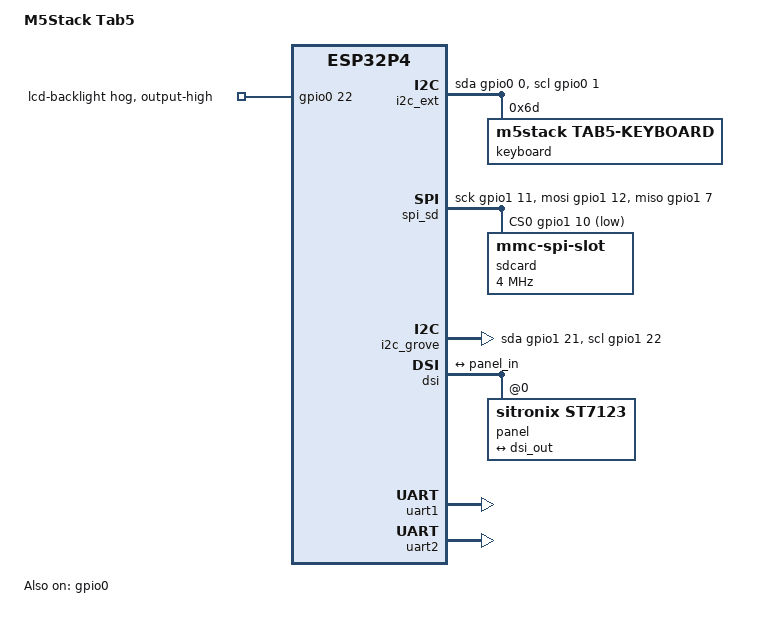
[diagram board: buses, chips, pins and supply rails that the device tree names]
// SPDX-License-Identifier: GPL-2.0-only
/*
 * M5Stack Tab5 overrides, appended to easystick-stamp-p4.dts by build-m1.sh
 * when EASYSTICK_BOARD=tab5.  The SoC side (P4 NRW32, 32 MiB PSRAM, 16 MiB
 * flash, USB-Serial/JTAG console on GPIO24/25) is the same as the Stamp-P4;
 * the boot shim powers the C6 and routes Slot 1 to the Tab5's SDIO pins
 * (CLK 12, CMD 13, DAT0..3 11/10/9/8), so the sdmmc1 node stays as is.
 */

/ {
	model = "M5Stack Tab5";
	compatible = "m5stack,tab5", "espressif,esp32p4";
};

/*
 * GPIO26/27 carry I2S to the audio codec on the Tab5, not a USB connector,
 * and the boot shim leaves the FS OTG PHY off.  Without a UDC the userland
 * skips the USB mass-storage drive.
 */
&usb_otg11 {
	status = "disabled";
};

/*
 * ST7123 720x1280 panel on the P4 MIPI-DSI host, two lanes (WHY2025's DSI
 * glue, kernel patches 0003/0073/0074; panel driver 0075).  The glue enables
 * the DSI clocks and LDO3 (VDD_MIPI_DPHY 2.5 V) itself.  The boot shim
 * releases LCD_RST (P4 of the 0x43 expander) and turns the backlight
 * (GPIO22) on, since Linux has no driver for either.
 */
/ {
	/* The DW-MIPI-DSI core needs a "pclk"; the APB clock is already on. */
	dsi_pclk: dsi-pclk {
		compatible = "fixed-clock";
		#clock-cells = <0>;
		clock-frequency = <100000000>;
		clock-output-names = "dsi-pclk";
	};

	reserved-memory {
		/*
		 * Scan-out buffer (720x1280 RGB565, 1.8 MB, an order-9
		 * allocation) and the GDMA descriptor page, kept out of the
		 * buddy allocator, which rarely has 2 MB free in one piece
		 * next to the NOMMU user pools.  Ends where the low user pool
		 * (0x495af000) starts.
		 */
		display_pool: display-pool@4939f000 {
			compatible = "shared-dma-pool";
			reg = <0x4939f000 0x00210000>;
			no-map;
		};
	};

	chosen {
		/*
		 * Landscape console with the keyboard below the screen: fbcon
		 * rotates the 720x1280 panel, Terminus 16x32 gives 80x22.
		 * console=ttyGS1 stays last, so /dev/console is still USB-C.
		 */
		bootargs = "earlycon=esp32p4usbjtag,mmio32,0x500d2000 console=tty0 console=ttyGS1,115200n8 loglevel=4 root=/dev/mtdblock0 rootfstype=squashfs ro init=/sbin/init maxcpus=1 fbcon=rotate:1 fbcon=font:TER16x32";
	};
};

&soc {
	dsi: dsi@500a0000 {
		compatible = "espressif,esp32p4-mipi-dsi";
		reg = <0x500a0000 0x0800>,	/* DW-MIPI-DSI host */
		      <0x500a0800 0x0100>;	/* Espressif bridge */
		reg-names = "host", "bridge";
		clocks = <&dsi_pclk>;
		clock-names = "pclk";
		/* The Tab5 panel is scanned in its native orientation. */
		espressif,blit-direct;
		/*
		 * The ROM cache ops make devices non-coherent by default, and
		 * NOMMU has no uncached remap, so dma_alloc_coherent() fails
		 * ("coherent DMA allocations not supported").  The glue
		 * flushes its scan-out buffer and GDMA descriptor itself.
		 */
		dma-coherent;
		memory-region = <&display_pool>;
		#address-cells = <1>;
		#size-cells = <0>;
		status = "okay";

		ports {
			#address-cells = <1>;
			#size-cells = <0>;

			port@0 {
				reg = <0>;
			};

			port@1 {
				reg = <1>;
				dsi_out: endpoint {
					remote-endpoint = <&panel_in>;
				};
			};
		};

		panel@0 {
			compatible = "sitronix,st7123";
			reg = <0>;

			port {
				panel_in: endpoint {
					remote-endpoint = <&dsi_out>;
				};
			};
		};
	};
};

#include <dt-bindings/gpio/gpio.h>

/*
 * Tab5 Keyboard (A164) on Ext.Port1: SDA GPIO0, SCL GPIO1, I2C 0x6d
 * (kernel patch 0076).  Bank 0 of the P4 GPIO controller (WHY2025's 0002
 * driver; it shares the MMIO page with gpio1) carries both lines; the bus is
 * bit-banged like WHY2025's keypad bus.  The keyboard's INT (GPIO50) is not
 * used: the driver polls.
 */
&soc {
	gpio0: gpio@500e0000 {
		compatible = "espressif,esp32p4-gpio";
		reg = <0x500e0000 0x1000>;
		espressif,bank-id = <0>;
		gpio-controller;
		#gpio-cells = <2>;
		status = "okay";

		/*
		 * The backlight enable (GPIO22) must be a line this driver owns:
		 * on every direction change (the bit-banged I2C toggles SDA each
		 * poll) it writes ENABLE_W1TC with every line it does not drive
		 * as an output, which turned off the output the boot shim set.
		 */
		lcd-backlight-hog {
			gpio-hog;
			gpios = <22 GPIO_ACTIVE_HIGH>;
			output-high;
			line-name = "lcd-backlight";
		};
	};
};

/ {
	i2c_ext: i2c-ext {
		compatible = "i2c-gpio";
		sda-gpios = <&gpio0 0 (GPIO_ACTIVE_HIGH | GPIO_OPEN_DRAIN | GPIO_PULL_UP)>;
		scl-gpios = <&gpio0 1 (GPIO_ACTIVE_HIGH | GPIO_OPEN_DRAIN | GPIO_PULL_UP)>;
		i2c-gpio,delay-us = <5>;	/* about 100 kHz */
		#address-cells = <1>;
		#size-cells = <0>;

		keyboard@6d {
			compatible = "m5stack,tab5-keyboard";
			reg = <0x6d>;
		};
	};
};

/*
 * Tab5 microSD slot, driven in SPI mode.  The slot is SDMMC Slot 0 on the
 * dedicated pads GPIO39..44, but the P4 has one SDMMC controller whose
 * Slot 1 is taken by the C6 and the local dw_mmc driver is single-slot, so
 * the card is bit-banged instead (M5's documented SPI-mode mapping):
 *
 *   GPIO43 CLK -> SCK    GPIO44 CMD -> MOSI    GPIO39 DAT0 -> MISO
 *   GPIO42 DAT3 -> CS    (GPIO40/41, DAT1/DAT2, stay idle)
 *
 * GPIO32.. live in bank 1, whose line numbers start at 0: line = GPIO - 32.
 * The boot shim switches the slot's I/O rail (LDO4, 3.3 V) on; the GPIO
 * driver moves the pads to the GPIO function when a line is requested.
 * No card-detect line is wired, so mmc_spi polls.
 */
/ {
	spi_sd: spi-sd {
		compatible = "spi-gpio";
		sck-gpios = <&gpio1 11 GPIO_ACTIVE_HIGH>;
		mosi-gpios = <&gpio1 12 (GPIO_ACTIVE_HIGH | GPIO_PULL_UP)>;
		miso-gpios = <&gpio1 7 (GPIO_ACTIVE_HIGH | GPIO_PULL_UP)>;
		cs-gpios = <&gpio1 10 GPIO_ACTIVE_LOW>;
		num-chipselects = <1>;
		#address-cells = <1>;
		#size-cells = <0>;

		sdcard@0 {
			compatible = "mmc-spi-slot";
			reg = <0>;
			spi-max-frequency = <4000000>;
			voltage-ranges = <3200 3400>;
		};
	};
};

/*
 * Tab5 RS485 (SIT3088) on UART1: TX GPIO20, RX GPIO21, DIR GPIO34 (M5Stack
 * pin table).  The boot shim clocks UART1 from XTAL / 4 (10 MHz, so 9600
 * baud fits the 12-bit divider), routes the three pads through the GPIO
 * matrix and leaves the UART core to Linux (patch 0079).  DIR is the UART's
 * RTS output; "linux,rs485-enabled-at-boot-time" puts the port in hardware
 * half-duplex mode, where RTS rises only while a character is being sent.
 * It appears as /dev/ttyS2 (serial0 is UART0, serial1 the USB serial/JTAG).
 * CLIC slot 25 / INTMTX source 32 (ETS_UART1_INTR_SOURCE).
 */
/ {
	aliases {
		serial2 = &uart1;
		serial3 = &uart2;
	};

	uart1_sclk: uart1-sclk {
		compatible = "fixed-clock";
		#clock-cells = <0>;
		clock-frequency = <10000000>;
		clock-output-names = "uart1-sclk";
	};

	uart2_sclk: uart2-sclk {
		compatible = "fixed-clock";
		#clock-cells = <0>;
		clock-frequency = <10000000>;
		clock-output-names = "uart2-sclk";
	};
};

&soc {
	uart1: serial@500cb000 {
		compatible = "esp,esp32p4-uart";
		reg = <0x500cb000 0x1000>;
		interrupts-extended = <&clic0 25 32 IRQ_TYPE_LEVEL_HIGH>;
		clocks = <&uart1_sclk>;
		linux,rs485-enabled-at-boot-time;
		status = "okay";
	};

	/* Grove UART, see the Grove comment below.  CLIC slot 26 / source 33. */
	uart2: serial@500cc000 {
		compatible = "esp,esp32p4-uart";
		reg = <0x500cc000 0x1000>;
		interrupts-extended = <&clic0 26 33 IRQ_TYPE_LEVEL_HIGH>;
		clocks = <&uart2_sclk>;
		status = "okay";
	};
};

/*
 * Tab5 Grove port (HY2.0-4P, PORT.A): yellow G53, white G54 (case label).
 * The pads carry either UART2 (/dev/ttyS3) or this bit-banged I2C bus, never
 * both.  The M5Stack PORT.A colour convention gives yellow = SDA, white =
 * SCL for I2C and yellow = host TX, white = host RX for UART; the case only
 * labels the GPIO numbers, so both assignments are still to be confirmed
 * with a real Unit.  The boot shim only clocks UART2.  grove-mode (run by
 * S42grove, setting kept in /boot/grove.txt) writes the GPIO matrix and
 * binds or unbinds this i2c-gpio device, so switching needs no rebuild.
 * Default is UART (Unit DMX).  G53/G54 are GPIO53/54, i.e. bank 1 lines
 * 21 and 22.
 */
/ {
	i2c_grove: i2c-grove {
		compatible = "i2c-gpio";
		sda-gpios = <&gpio1 21 (GPIO_ACTIVE_HIGH | GPIO_OPEN_DRAIN | GPIO_PULL_UP)>;
		scl-gpios = <&gpio1 22 (GPIO_ACTIVE_HIGH | GPIO_OPEN_DRAIN | GPIO_PULL_UP)>;
		i2c-gpio,delay-us = <5>;	/* about 100 kHz */
		#address-cells = <1>;
		#size-cells = <0>;
	};
};
